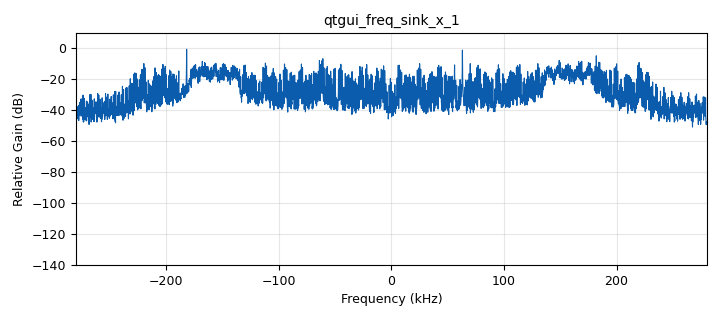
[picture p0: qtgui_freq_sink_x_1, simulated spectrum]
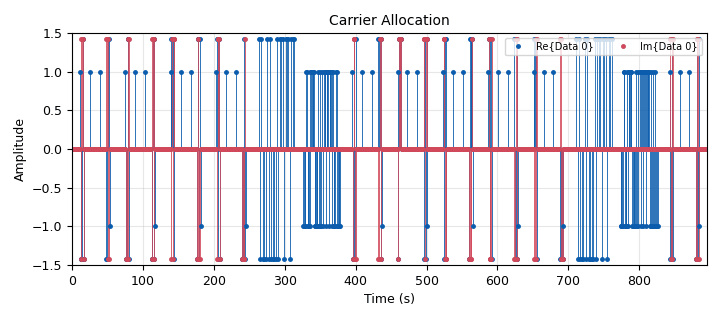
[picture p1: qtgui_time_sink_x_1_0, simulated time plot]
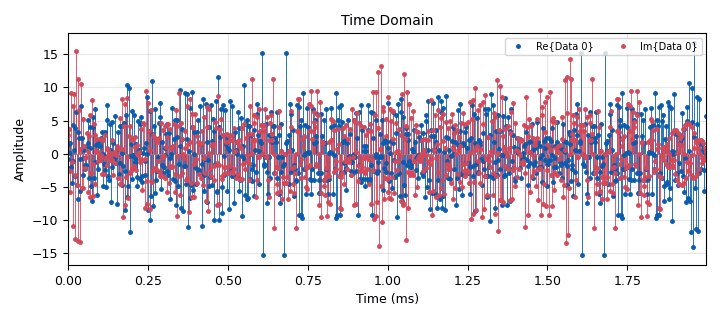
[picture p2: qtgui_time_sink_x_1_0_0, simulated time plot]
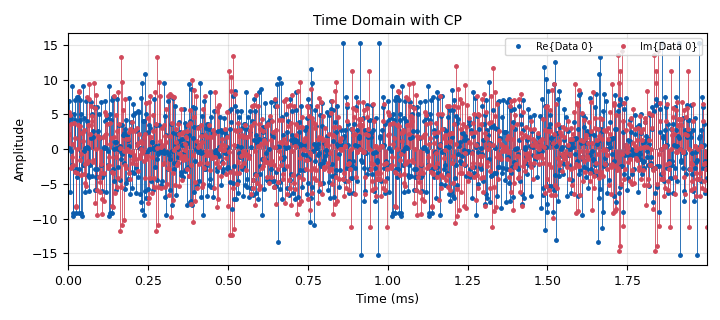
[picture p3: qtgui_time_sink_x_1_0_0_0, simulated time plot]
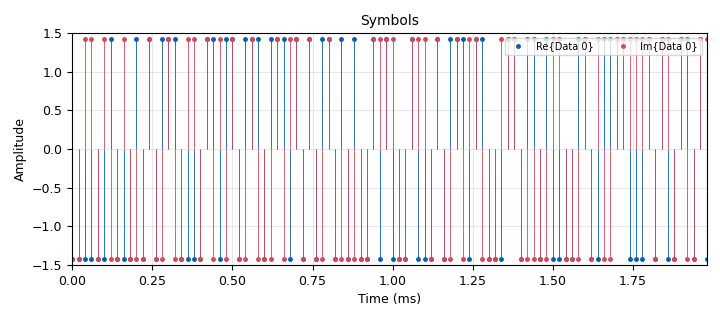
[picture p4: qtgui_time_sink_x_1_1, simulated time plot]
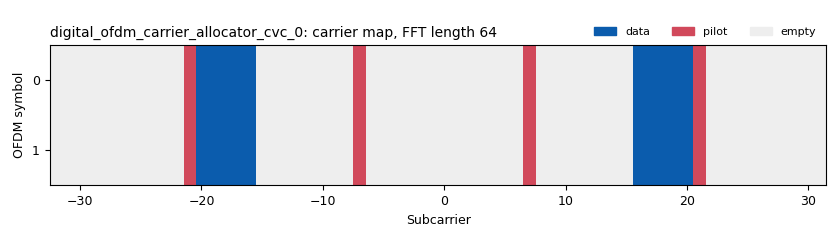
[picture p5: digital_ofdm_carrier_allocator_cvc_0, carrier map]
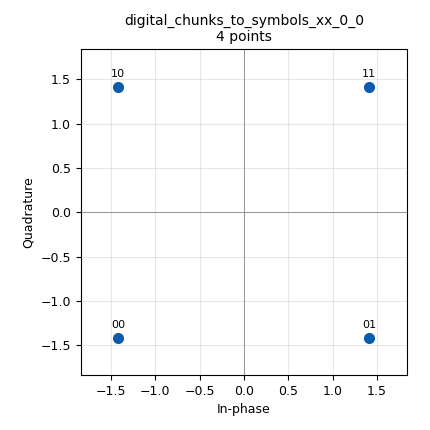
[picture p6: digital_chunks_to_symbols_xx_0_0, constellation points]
options:
  parameters:
    category: Custom
    description: Example of an OFDM Transmitter
    generate_options: qt_gui
    id: tx2
    output_language: python
    run_options: run
    title: OFDM Tx frame structure
  states: {}

blocks:
- name: CP_len
  id: variable
  parameters:
    value: fft_len//4
  states: {}
- name: N_AC
  id: variable
  parameters:
    value: len(carrier_list)
  states: {}
- name: N_frames
  id: variable
  parameters:
    value: symbols_per_packet/N_AC
  states: {}
- name: carrier_list
  id: variable
  parameters:
    value: list(range(-20, -15)) + list(range(16, 21))
  states: {}
- name: fft_len
  id: variable
  parameters:
    value: '64'
  states: {}
- name: length_tag_key
  id: variable
  parameters:
    value: '"packet_len"'
  states: {}
- name: observed_reps
  id: variable
  parameters:
    value: '2'
  states: {}
- name: occupied_carriers
  id: variable
  parameters:
    value: (carrier_list,)
  states: {}
- name: packet_rate
  id: variable
  parameters:
    value: symbol_rate/symbols_per_packet
  states: {}
- name: payload_mod
  id: variable
  parameters:
    value: digital.constellation_qpsk()
  states: {}
- name: pilot_carriers
  id: variable
  parameters:
    value: ((-21, -7, 7, 21,),)
  states: {}
- name: pilot_symbols
  id: variable
  parameters:
    value: ((1, 1, 1, -1,),)
  states: {}
- name: rolloff
  id: variable
  parameters:
    value: '0'
  states: {}
- name: samp_rate
  id: variable
  parameters:
    value: int(packet_rate)*(N_frames+2)*(fft_len+CP_len)
  states: {}
- name: samp_rate_preCP
  id: variable
  parameters:
    value: int(packet_rate)*(N_frames+2)*fft_len
  states: {}
- name: symbol_rate
  id: variable
  parameters:
    value: '50000'
  states: {}
- name: symbols_per_packet
  id: variable
  parameters:
    value: '50'
  states: {}
- name: sync_word1
  id: variable
  parameters:
    value: '[0., 0., 0., 0., 0., 0., 0., 1.41421356, 0., -1.41421356, 0., 1.41421356, 0., -1.41421356, 0., -1.41421356, 0., -1.41421356, 0., 1.41421356, 0., -1.41421356, 0., 1.41421356, 0., -1.41421356, 0., -1.41421356, 0., -1.41421356, 0., -1.41421356, 0., 1.41421356, 0., -1.41421356, 0., 1.41421356, 0., 1.41421356, 0., 1.41421356, 0., -1.41421356, 0., 1.41421356, 0., 1.41421356, 0., 1.41421356, 0., -1.41421356, 0., 1.41421356, 0., 1.41421356, 0., 1.41421356, 0., 0., 0., 0., 0., 0.]'
  states: {}
- name: sync_word2
  id: variable
  parameters:
    value: '[0, 0, 0, 0, 0, 0, -1, -1, -1, -1, 1, 1, -1, -1, -1, 1, -1, 1, 1, 1, 1, 1, -1, -1, -1, -1, -1, 1, -1, -1, 1, -1, 0, 1, -1, 1, 1, 1, -1, 1, 1, 1, -1, 1, 1, 1, 1, -1, 1, -1, -1, -1, 1, -1, 1, -1, -1, -1, -1, 0, 0, 0, 0, 0] '
  states: {}
- name: analog_random_source_x_0_1
  id: analog_random_source_x
  parameters:
    max: '4'
    min: '0'
    num_samps: '1000'
    repeat: 'True'
    type: byte
  states: {}
- name: blocks_stream_to_tagged_stream_0_0
  id: blocks_stream_to_tagged_stream
  parameters:
    len_tag_key: length_tag_key
    packet_len: symbols_per_packet
    type: complex
  states: {}
- name: blocks_vector_to_stream_0
  id: blocks_vector_to_stream
  parameters:
    num_items: fft_len
    type: complex
  states: {}
- name: blocks_vector_to_stream_0_0
  id: blocks_vector_to_stream
  parameters:
    num_items: fft_len
    type: complex
  states: {}
- name: digital_chunks_to_symbols_xx_0_0
  id: digital_chunks_to_symbols_xx
  parameters:
    dimension: '1'
    in_type: byte
    out_type: complex
    symbol_table: payload_mod.points()
  states: {}
- name: digital_ofdm_carrier_allocator_cvc_0
  id: digital_ofdm_carrier_allocator_cvc
  parameters:
    fft_len: fft_len
    len_tag_key: length_tag_key
    occupied_carriers: occupied_carriers
    output_is_shifted: 'True'
    pilot_carriers: pilot_carriers
    pilot_symbols: pilot_symbols
    sync_words: (sync_word1, sync_word2)
  states: {}
- name: digital_ofdm_cyclic_prefixer_0
  id: digital_ofdm_cyclic_prefixer
  parameters:
    cp_len: CP_len
    input_size: fft_len
    rolloff: rolloff
    tagname: length_tag_key
  states: {}
- name: fft_vxx_0
  id: fft_vxx
  parameters:
    fft_size: fft_len
    forward: 'False'
    shift: 'True'
    type: complex
    window: ()
  states: {}
- name: qtgui_freq_sink_x_1
  id: qtgui_freq_sink_x
  parameters:
    average: '0.05'
    bw: samp_rate
    fc: '0'
    fftsize: 64*fft_len
    type: complex
    wintype: firdes.WIN_RECTANGULAR
  states: {}
- name: qtgui_time_sink_x_1_0
  id: qtgui_time_sink_x
  parameters:
    gui_hint: 1,0,1,1
    name: '"Carrier Allocation"'
    size: observed_reps*fft_len*(int(N_frames)+2)
    srate: '1'
    stemplot: 'True'
    type: complex
    ymax: '1.5'
    ymin: '-1.5'
  states: {}
- name: qtgui_time_sink_x_1_0_0
  id: qtgui_time_sink_x
  parameters:
    autoscale: 'True'
    gui_hint: 2,0,1,1
    name: '"Time Domain"'
    size: observed_reps*fft_len*(int(N_frames)+2)
    srate: samp_rate_preCP
    stemplot: 'True'
    type: complex
    ymax: '1.5'
    ymin: '-1.5'
  states: {}
- name: qtgui_time_sink_x_1_0_0_0
  id: qtgui_time_sink_x
  parameters:
    autoscale: 'True'
    gui_hint: 3,0,1,1
    name: '"Time Domain with CP"'
    size: observed_reps*(fft_len+CP_len)*(int(N_frames)+2)
    srate: samp_rate
    stemplot: 'True'
    type: complex
    ymax: '1.5'
    ymin: '-1.5'
  states: {}
- name: qtgui_time_sink_x_1_1
  id: qtgui_time_sink_x
  parameters:
    gui_hint: 0,0,1,1
    name: '"Symbols"'
    size: observed_reps*symbols_per_packet
    srate: symbol_rate
    stemplot: 'True'
    type: complex
    ymax: '1.5'
    ymin: '-1.5'
  states: {}
- name: virtual_sink_0_0_0
  id: virtual_sink
  parameters:
    stream_id: Symbols
  states: {}
- name: virtual_source_0_0_0_0_0
  id: virtual_source
  parameters:
    stream_id: Symbols
  states: {}

connections:
- [analog_random_source_x_0_1, '0', digital_chunks_to_symbols_xx_0_0, '0']
- [blocks_stream_to_tagged_stream_0_0, '0', qtgui_time_sink_x_1_1, '0']
- [blocks_stream_to_tagged_stream_0_0, '0', virtual_sink_0_0_0, '0']
- [blocks_vector_to_stream_0, '0', qtgui_time_sink_x_1_0, '0']
- [blocks_vector_to_stream_0_0, '0', qtgui_time_sink_x_1_0_0, '0']
- [digital_chunks_to_symbols_xx_0_0, '0', blocks_stream_to_tagged_stream_0_0, '0']
- [digital_ofdm_carrier_allocator_cvc_0, '0', blocks_vector_to_stream_0, '0']
- [digital_ofdm_carrier_allocator_cvc_0, '0', fft_vxx_0, '0']
- [digital_ofdm_cyclic_prefixer_0, '0', qtgui_freq_sink_x_1, '0']
- [digital_ofdm_cyclic_prefixer_0, '0', qtgui_time_sink_x_1_0_0_0, '0']
- [fft_vxx_0, '0', blocks_vector_to_stream_0_0, '0']
- [fft_vxx_0, '0', digital_ofdm_cyclic_prefixer_0, '0']
- [virtual_source_0_0_0_0_0, '0', digital_ofdm_carrier_allocator_cvc_0, '0']

metadata:
  file_format: 1
